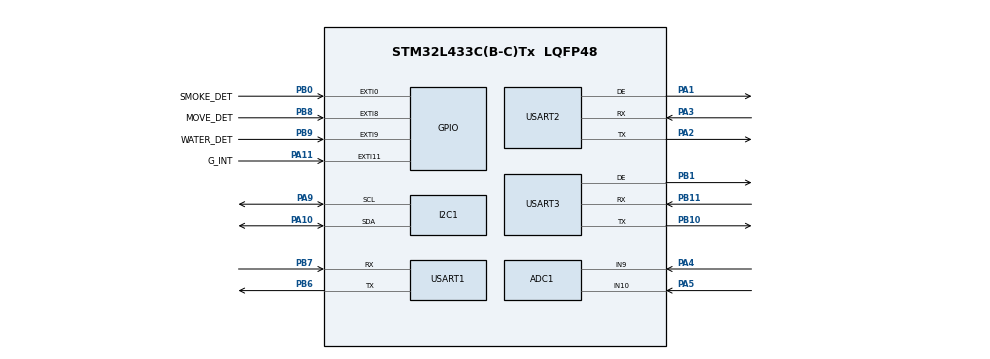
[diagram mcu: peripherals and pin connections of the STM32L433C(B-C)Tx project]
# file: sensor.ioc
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ADC1.Channel-0\#ChannelRegularConversion=ADC_CHANNEL_9
ADC1.Channel-1\#ChannelRegularConversion=ADC_CHANNEL_10
ADC1.ClockPrescaler=ADC_CLOCK_ASYNC_DIV2
ADC1.ContinuousConvMode=ENABLE
ADC1.DMAContinuousRequests=ENABLE
ADC1.EOCSelection=ADC_EOC_SEQ_CONV
ADC1.NbrOfConversion=2
ADC1.NbrOfConversionFlag=1
ADC1.OffsetNumber-0\#ChannelRegularConversion=ADC_OFFSET_NONE
ADC1.OffsetNumber-1\#ChannelRegularConversion=ADC_OFFSET_NONE
ADC1.Rank-0\#ChannelRegularConversion=1
ADC1.Rank-1\#ChannelRegularConversion=2
ADC1.SamplingTime-0\#ChannelRegularConversion=ADC_SAMPLETIME_47CYCLES_5
ADC1.SamplingTime-1\#ChannelRegularConversion=ADC_SAMPLETIME_47CYCLES_5
ADC1.master=1
Dma.ADC1.0.Direction=DMA_PERIPH_TO_MEMORY
Dma.ADC1.0.Instance=DMA1_Channel1
Dma.ADC1.0.MemDataAlignment=DMA_MDATAALIGN_WORD
Dma.ADC1.0.MemInc=DMA_MINC_ENABLE
Dma.ADC1.0.Mode=DMA_CIRCULAR
Dma.ADC1.0.PeriphDataAlignment=DMA_PDATAALIGN_WORD
Dma.ADC1.0.PeriphInc=DMA_PINC_DISABLE
Dma.ADC1.0.Priority=DMA_PRIORITY_LOW
Dma.Request0=ADC1
Dma.Request1=USART2_RX
Dma.USART2_RX.1.Direction=DMA_PERIPH_TO_MEMORY
Dma.USART2_RX.1.Instance=DMA1_Channel6
Dma.USART2_RX.1.MemDataAlignment=DMA_MDATAALIGN_BYTE
Dma.USART2_RX.1.MemInc=DMA_MINC_ENABLE
Dma.USART2_RX.1.Mode=DMA_CIRCULAR
Dma.USART2_RX.1.PeriphDataAlignment=DMA_PDATAALIGN_BYTE
Dma.USART2_RX.1.PeriphInc=DMA_PINC_DISABLE
Dma.USART2_RX.1.Priority=DMA_PRIORITY_LOW
FREERTOS.Tasks01=defaultTask,24,128,StartDefaultTask,Default,NULL,Dynamic,NULL,NULL
IWDG.Prescaler=IWDG_PRESCALER_32
IWDG.Reload=3075
IWDG.Window=3075
Mcu.Family=STM32L4
Mcu.Name=STM32L433C(B-C)Tx
Mcu.Package=LQFP48
NVIC.ADC1_IRQn=true\:5\:0\:false\:false\:true\:true\:true\:true\:true
NVIC.DMA1_Channel1_IRQn=true\:5\:0\:false\:false\:true\:true\:false\:true\:true
NVIC.DMA1_Channel6_IRQn=true\:5\:0\:false\:false\:true\:true\:false\:true\:true
NVIC.EXTI0_IRQn=true\:5\:0\:false\:false\:true\:true\:true\:true\:true
NVIC.EXTI15_10_IRQn=true\:5\:0\:false\:false\:true\:true\:true\:true\:true
NVIC.EXTI9_5_IRQn=true\:5\:0\:false\:false\:true\:true\:true\:true\:true
NVIC.PriorityGroup=NVIC_PRIORITYGROUP_4
NVIC.USART1_IRQn=true\:5\:0\:false\:false\:true\:true\:true\:true\:true
NVIC.USART2_IRQn=true\:5\:0\:false\:false\:true\:true\:true\:true\:true
NVIC.USART3_IRQn=true\:5\:0\:false\:false\:true\:true\:true\:true\:true
PA1.Mode=Hardware Flow Control (RS485)
PA1.Signal=USART2_DE
PA10.Mode=I2C
PA10.Signal=I2C1_SDA
PA11.GPIO_Label=G_INT
PA11.GPIO_ModeDefaultEXTI=GPIO_MODE_IT_RISING
PA11.GPIO_PuPd=GPIO_PULLUP
PA11.Signal=GPXTI11
PA13\ (JTMS-SWDIO).Mode=Serial_Wire
PA13\ (JTMS-SWDIO).Signal=SYS_JTMS-SWDIO
PA14\ (JTCK-SWCLK).Mode=Serial_Wire
PA14\ (JTCK-SWCLK).Signal=SYS_JTCK-SWCLK
PA2.Mode=Asynchronous
PA2.Signal=USART2_TX
PA3.Mode=Asynchronous
PA3.Signal=USART2_RX
PA4.Signal=ADCx_IN9
PA5.Signal=ADCx_IN10
PA9.Mode=I2C
PA9.Signal=I2C1_SCL
PB0.GPIO_Label=SMOKE_DET
PB0.GPIO_ModeDefaultEXTI=GPIO_MODE_IT_RISING_FALLING
PB0.Signal=GPXTI0
PB1.Mode=Hardware Flow Control (RS485)
PB1.Signal=USART3_DE
PB10.Mode=Asynchronous
PB10.Signal=USART3_TX
PB11.Mode=Asynchronous
PB11.Signal=USART3_RX
PB6.Mode=Asynchronous
PB6.Signal=USART1_TX
PB7.Mode=Asynchronous
PB7.Signal=USART1_RX
PB8.GPIO_Label=MOVE_DET
PB8.GPIO_ModeDefaultEXTI=GPIO_MODE_IT_RISING_FALLING
PB8.Signal=GPXTI8
PB9.GPIO_Label=WATER_DET
PB9.GPIO_ModeDefaultEXTI=GPIO_MODE_IT_RISING_FALLING
PB9.Signal=GPXTI9
ProjectManager.HeapSize=0x200
ProjectManager.StackSize=0x400
ProjectManager.TargetToolchain=MDK-ARM V5.32
RCC.ADCFreq_Value=32000000
RCC.HSE_VALUE=8000000
RCC.HSI48_VALUE=48000000
RCC.HSI_VALUE=16000000
RCC.LSE_VALUE=32768
RCC.MSI_VALUE=4000000
RCC.PLLSAI1N=16
RCC.USBFreq_Value=32000000
RCC.VCOOutputFreq_Value=32000000
SH.ADCx_IN10.0=ADC1_IN10,IN10-Single-Ended
SH.ADCx_IN9.0=ADC1_IN9,IN9-Single-Ended
USART1.VirtualMode-Asynchronous=VM_ASYNC
USART2.OverrunDisableParam=ADVFEATURE_OVERRUN_DISABLE
USART2.VirtualMode-Asynchronous=VM_ASYNC
USART2.VirtualMode-Hardware\ Flow\ Control\ (RS485)=VM_ASYNC
USART3.VirtualMode-Asynchronous=VM_ASYNC
USART3.VirtualMode-Hardware\ Flow\ Control\ (RS485)=VM_ASYNC
VP_FREERTOS_VS_CMSIS_V2.Mode=CMSIS_V2
VP_IWDG_VS_IWDG.Mode=IWDG_Activate
board=custom

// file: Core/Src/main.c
/* USER CODE BEGIN Header */
/**
  ******************************************************************************
  * @file           : main.c
  * @brief          : Main program body
  ******************************************************************************
  * @attention
  *
  * Copyright (c) 2022 STMicroelectronics.
  * All rights reserved.
  *
  * This software is licensed under terms that can be found in the LICENSE file
  * in the root directory of this software component.
  * If no LICENSE file comes with this software, it is provided AS-IS.
  *
  ******************************************************************************
  */
/* USER CODE END Header */
#include "main.h"
#include "cmsis_os.h"
#include "adc.h"
#include "dma.h"
#include "i2c.h"
#include "iwdg.h"
#include "usart.h"
#include "gpio.h"

/* USER CODE BEGIN Includes */
#include "stdio.h"
#include "common.h"
#include "DHT20.h"
#include "app_uart.h"
#include "user_protocol.h"
#include "user_data.h"
/* USER CODE END Includes */

/* USER CODE BEGIN PV */
Sensor_Data_t Sensor;
/* USER CODE END PV */

void SystemClock_Config(void);
void MX_FREERTOS_Init(void);

/* USER CODE BEGIN 0 */
extern void App_Init(void);
/* USER CODE END 0 */

int main(void)
{

  /* MCU Configuration--------------------------------------------------------*/

  /* Reset of all peripherals, Initializes the Flash interface and the Systick. */
  HAL_Init();

  /* Configure the system clock */
  SystemClock_Config();

  /* USER CODE BEGIN SysInit */
	user_database_init();
  /* USER CODE END SysInit */

  /* Initialize all configured peripherals */
  MX_GPIO_Init();
  MX_DMA_Init();
  MX_I2C1_Init();
  MX_USART1_UART_Init();
  MX_USART2_UART_Init();
  MX_USART3_UART_Init();
  MX_ADC1_Init();

  /* Init scheduler */
  osKernelInitialize();  /* Call init function for freertos objects (in freertos.c) */
  MX_FREERTOS_Init();

  /* Start scheduler */
  osKernelStart();

  /* We should never get here as control is now taken by the scheduler */
  /* Infinite loop */
  while (1)
  {

  }
}

void SystemClock_Config(void)
{
  RCC_OscInitTypeDef RCC_OscInitStruct = {0};
  RCC_ClkInitTypeDef RCC_ClkInitStruct = {0};

  /** Configure the main internal regulator output voltage
  */
  if (HAL_PWREx_ControlVoltageScaling(PWR_REGULATOR_VOLTAGE_SCALE1) != HAL_OK)
  {
    Error_Handler();
  }

  /** Initializes the RCC Oscillators according to the specified parameters
  * in the RCC_OscInitTypeDef structure.
  */
  RCC_OscInitStruct.OscillatorType = RCC_OSCILLATORTYPE_LSI|RCC_OSCILLATORTYPE_MSI;
  RCC_OscInitStruct.LSIState = RCC_LSI_ON;
  RCC_OscInitStruct.MSIState = RCC_MSI_ON;
  RCC_OscInitStruct.MSICalibrationValue = 0;
  RCC_OscInitStruct.MSIClockRange = RCC_MSIRANGE_6;
  RCC_OscInitStruct.PLL.PLLState = RCC_PLL_NONE;
  if (HAL_RCC_OscConfig(&RCC_OscInitStruct) != HAL_OK)
  {
    Error_Handler();
  }

  /** Initializes the CPU, AHB and APB buses clocks
  */
  RCC_ClkInitStruct.ClockType = RCC_CLOCKTYPE_HCLK|RCC_CLOCKTYPE_SYSCLK
                              |RCC_CLOCKTYPE_PCLK1|RCC_CLOCKTYPE_PCLK2;
  RCC_ClkInitStruct.SYSCLKSource = RCC_SYSCLKSOURCE_MSI;
  RCC_ClkInitStruct.AHBCLKDivider = RCC_SYSCLK_DIV1;
  RCC_ClkInitStruct.APB1CLKDivider = RCC_HCLK_DIV1;
  RCC_ClkInitStruct.APB2CLKDivider = RCC_HCLK_DIV1;

  if (HAL_RCC_ClockConfig(&RCC_ClkInitStruct, FLASH_LATENCY_0) != HAL_OK)
  {
    Error_Handler();
  }
}

void Error_Handler(void)
{
  __disable_irq();
  while (1)
  {
  }
}

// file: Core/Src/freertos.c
/* USER CODE BEGIN Header */
/**
  ******************************************************************************
  * File Name          : freertos.c
  * Description        : Code for freertos applications
  ******************************************************************************
  * @attention
  *
  * Copyright (c) 2022 STMicroelectronics.
  * All rights reserved.
  *
  * This software is licensed under terms that can be found in the LICENSE file
  * in the root directory of this software component.
  * If no LICENSE file comes with this software, it is provided AS-IS.
  *
  ******************************************************************************
  */
/* USER CODE END Header */

#include "FreeRTOS.h"
#include "task.h"
#include "main.h"
#include "cmsis_os.h"

/* USER CODE BEGIN Includes */
#include "common.h"
#include "sc7a20.h"
#include "stdio.h"
#include "DHT20.h"
#include "app_uart.h"
#include "user_protocol.h"
#include "user_data.h"
/* USER CODE END Includes */

/* USER CODE BEGIN PTD */
extern uint32_t adc_value[2];
/* USER CODE END PTD */

/* Definitions for defaultTask */
osThreadId_t defaultTaskHandle;
const osThreadAttr_t defaultTask_attributes = {
  .name = "defaultTask",
  .stack_size = 128 * 4,
  .priority = (osPriority_t) osPriorityNormal,
};

void StartDefaultTask(void *argument);

void MX_FREERTOS_Init(void); /* (MISRA C 2004 rule 8.1) */

void MX_FREERTOS_Init(void) {

  /* Create the thread(s) */
  /* creation of defaultTask */
  defaultTaskHandle = osThreadNew(StartDefaultTask, NULL, &defaultTask_attributes);

}

void StartDefaultTask(void *argument)
{
  /* USER CODE BEGIN StartDefaultTask */
	static uint16_t cnt = 0;

	user_protocol_init();
	Sensor.uid[0] = HAL_GetUIDw0();
	Sensor.uid[1] = HAL_GetUIDw1();
	Sensor.uid[2] = HAL_GetUIDw2();

	DHT20_Task_Init();
	AppUart2Init();

	sc7a20_init(&sc7a20_misc_data);
  /* Infinite loop */
  for(;;)
  {
		sc7a20_get_acceleration_data(&sc7a20_misc_data, (int16_t *)&Sensor.gSensorData);
		cnt ++;
		if(cnt >= 500){
			cnt = 0;
			printf("\r\n===================================\r\n");
			printf("move sensor state: %d\r\n", Sensor.displacement_sensor_state);
			printf("smoke sensor state: %d\r\n", Sensor.smoke_sensor_state);
			printf("water sensor state: %d\r\n", Sensor.water_sensor_state);
			printf("temperature: %d\r\n", Sensor.temperature);
			printf("humidity: %d\r\n", Sensor.humidity);
			printf("bat value: %d\r\n", Sensor.vbat_value);
			printf("ac detect: %d\r\n", Sensor.ac_detect_value);
			printf("gsensor x: %d\r\n", Sensor.gSensorData.x);
			printf("gsensor y: %d\r\n", Sensor.gSensorData.y);
			printf("gsensor z: %d\r\n", Sensor.gSensorData.z);
			printf("baudRateIndex: %d\r\n", Sensor.baudRateIndex);
			printf("uid: 0x%x%x%x\r\n", Sensor.uid[0], Sensor.uid[1], Sensor.uid[2]);
			printf("===================================\r\n");
		}
    osDelay(10);
  }
  /* USER CODE END StartDefaultTask */
}
